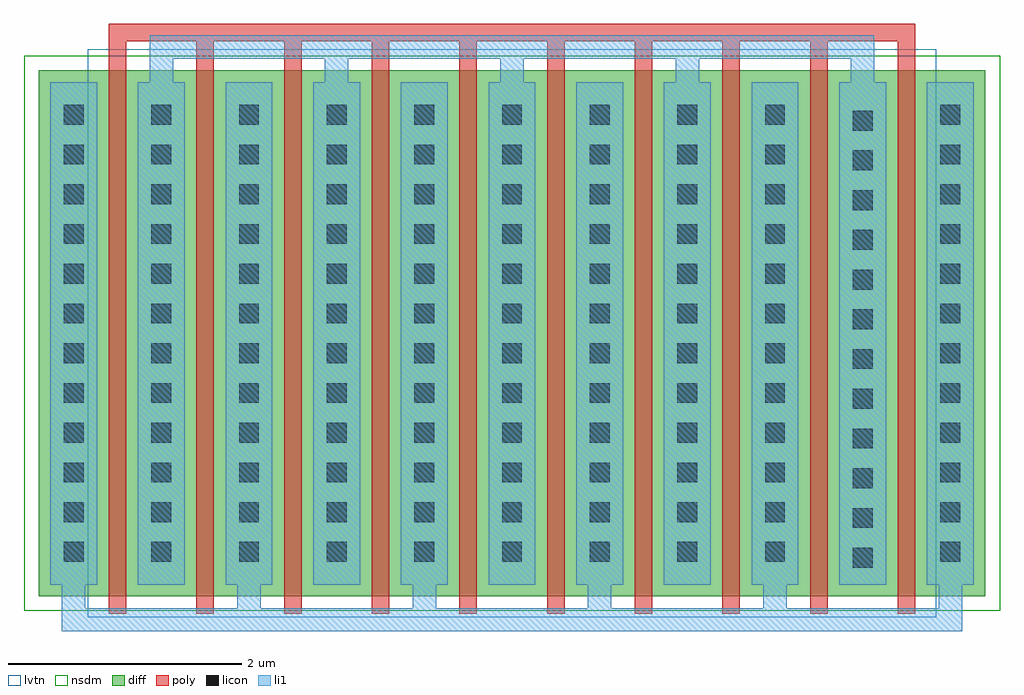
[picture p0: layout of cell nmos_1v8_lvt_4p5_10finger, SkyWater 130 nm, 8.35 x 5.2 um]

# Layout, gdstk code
import gdstk
lib = gdstk.Library(unit=1e-6, precision=5e-09)
def R(c, l, rs):  # rectangles x0, y0, x1, y1
    for r in rs: c.add(gdstk.rectangle(r[:2], r[2:], *l))
def A(c, l, x, y, w, h, nx, ny, dx, dy):  # array of equal rectangles
    R(c, l, [(x+i*dx, y+j*dy, x+i*dx+w, y+j*dy+h) for i in range(nx) for j in range(ny)])
diff = (65, 20)
poly = (66, 20)
licon = (66, 44)
li1 = (67, 20)
nsdm = (93, 44)
lvtn = (125, 44)

nmos_1v8_lvt_4p5_10finge = lib.new_cell('nmos_1v8_lvt_4p5_10finger')
R(nmos_1v8_lvt_4p5_10finge, diff, [(0.4,0.15,8.5,4.65)])
A(nmos_1v8_lvt_4p5_10finge, poly, 1, 0, 0.15, 4.9, 10, 1, 0.75, 0)
R(nmos_1v8_lvt_4p5_10finge, poly, [(1,4.9,7.9,5.05)])
A(nmos_1v8_lvt_4p5_10finge, licon, 7.365, 0.395, 0.17, 0.17, 1, 12, 0, 0.34)
A(nmos_1v8_lvt_4p5_10finge, licon, 0.615, 0.445, 0.17, 0.17, 9, 12, 0.75, 0.34)
A(nmos_1v8_lvt_4p5_10finge, licon, 8.115, 0.445, 0.17, 0.17, 1, 12, 0, 0.34)
A(nmos_1v8_lvt_4p5_10finge, li1, 0.6, 0.05, 0.2, 0.2, 6, 1, 1.5, 0)
A(nmos_1v8_lvt_4p5_10finge, li1, 0.5, 0.25, 0.4, 4.3, 11, 1, 0.75, 0)
A(nmos_1v8_lvt_4p5_10finge, li1, 1.35, 4.55, 0.2, 0.2, 5, 1, 1.5, 0)
R(nmos_1v8_lvt_4p5_10finge, li1, [(0.6,-0.15,8.3,0.05), (1.35,4.75,7.55,4.95)])
R(nmos_1v8_lvt_4p5_10finge, nsdm, [(0.275,0.025,8.625,4.775)])
R(nmos_1v8_lvt_4p5_10finge, lvtn, [(0.82,-0.03,8.08,4.83)])

lib.write_gds('nmos_1v8_lvt_4p5_10finger.gds')
